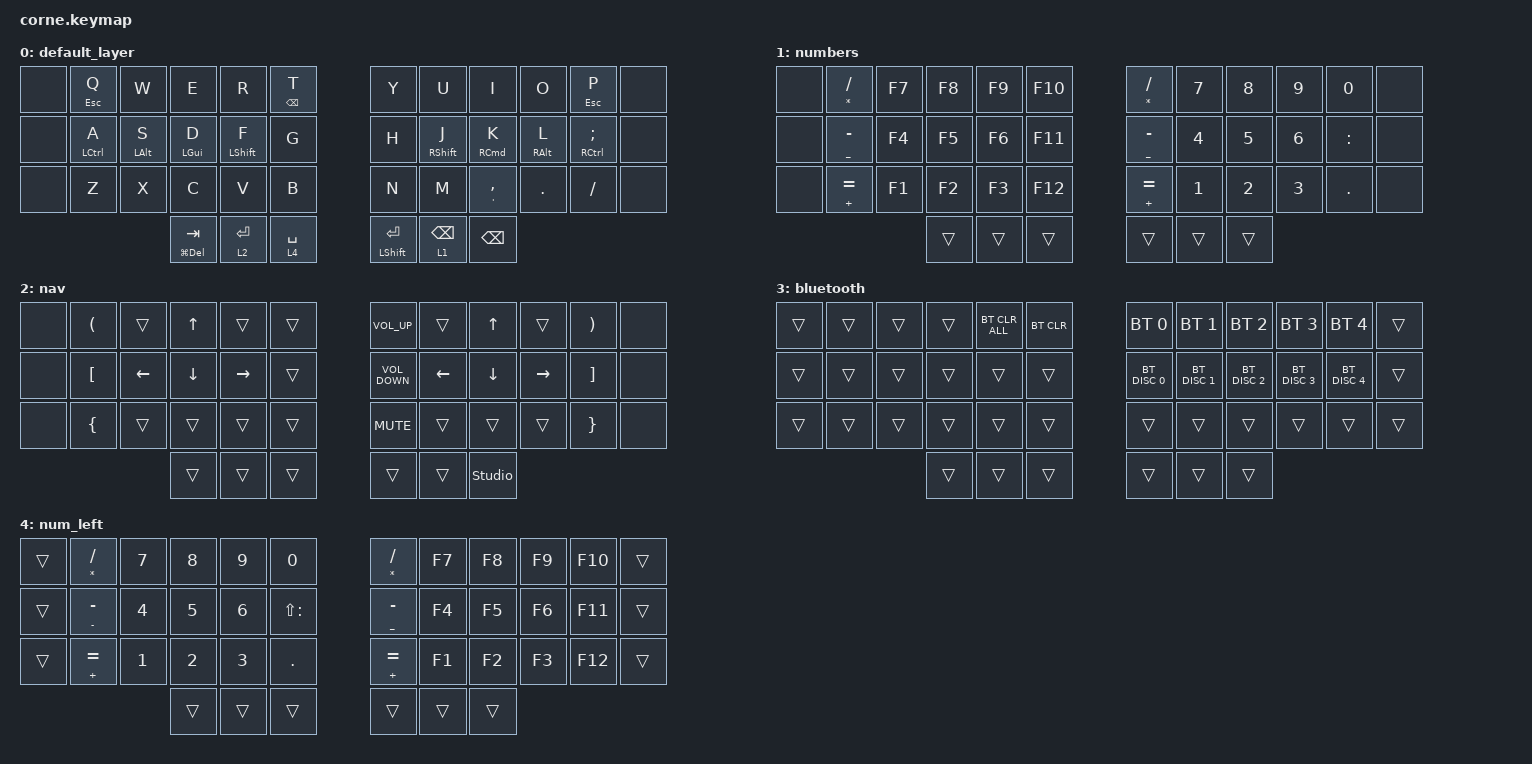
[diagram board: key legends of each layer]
/*
 * Copyright (c) 2020 The ZMK Contributors
 *
 * SPDX-License-Identifier: MIT
 */

#include <dt-bindings/zmk/mouse.h>
#include <behaviors.dtsi>
#include <dt-bindings/zmk/bt.h>
#include <dt-bindings/zmk/keys.h>

&sk { release-after-ms = <3000>; };

&mt {
    flavor = "balanced";
    tapping-term-ms = <220>;
};

/ {
    combos {
        compatible = "zmk,combos";

        home {
            bindings = <&to 0>;
            key-positions = <38 39>;
        };

        bluyee {
            bindings = <&to 3>;
            key-positions = <36 41>;
        };

        tonum {
            bindings = <&to 1>;
            key-positions = <38 40>;
        };
    };

    keymap {
        compatible = "zmk,keymap";

        default_layer {
            // -----------------------------------------------------------------------------------------
            // |  TAB |  Q  |  W  |  E  |  R  |  T  |   |  Y  |  U   |  I  |  O  |  P  | BKSP |
            // | CTRL |  A  |  S  |  D  |  F  |  G  |   |  H  |  J   |  K  |  L  |  ;  |  '   |
            // | SHFT |  Z  |  X  |  C  |  V  |  B  |   |  N  |  M   |  ,  |  .  |  /  | ESC  |
            //                    | GUI | LWR | SPC |   | ENT | RSE  | ALT |

            bindings = <
&none  &mt ESCAPE Q  &kp W       &kp E               &kp R             &mt BACKSPACE T    &kp Y                 &kp U              &kp I                &kp O       &mt ESCAPE P            &none
&none  &mt LCTRL A   &mt LALT S  &mt LGUI D          &mt LEFT_SHIFT F  &kp G              &kp H                 &mt RIGHT_SHIFT J  &mt RIGHT_COMMAND K  &mt RALT L  &mt RIGHT_CONTROL SEMI  &none
&none  &kp Z         &kp X       &kp C               &kp V             &kp B              &kp N                 &kp M              &mt SQT COMMA        &kp DOT     &kp SLASH               &none
                                 &mt LG(DELETE) TAB  &lt 2 ENTER       &lt 4 SPACE        &mt LEFT_SHIFT ENTER  &lt 1 BACKSPACE    &kp BACKSPACE
            >;
        };

        numbers {
            bindings = <
&none  &mt ASTERISK SLASH  &kp F7  &kp F8  &kp F9  &kp F10    &mt ASTERISK SLASH  &kp N7  &kp N8  &kp N9  &kp N0     &none
&none  &mt UNDER MINUS     &kp F4  &kp F5  &kp F6  &kp F11    &mt UNDER MINUS     &kp N4  &kp N5  &kp N6  &kp COLON  &none
&none  &mt PLUS EQUAL      &kp F1  &kp F2  &kp F3  &kp F12    &mt PLUS EQUAL      &kp N1  &kp N2  &kp N3  &kp DOT    &none
                                   &trans  &trans  &trans     &trans              &trans  &trans
            >;
        };

        nav {
            bindings = <
&none  &kp LEFT_PARENTHESIS  &trans    &kp UP    &trans     &trans    &kp C_VOLUME_UP    &trans    &kp UP    &trans     &kp RIGHT_PARENTHESIS  &none
&none  &kp LEFT_BRACKET      &kp LEFT  &kp DOWN  &kp RIGHT  &trans    &kp C_VOLUME_DOWN  &kp LEFT  &kp DOWN  &kp RIGHT  &kp RIGHT_BRACKET      &none
&none  &kp LEFT_BRACE        &trans    &trans    &trans     &trans    &kp K_MUTE         &trans    &trans    &trans     &kp RIGHT_BRACE        &none
                                       &trans    &trans     &trans    &trans             &trans    &studio_unlock
            >;
        };

        bluetooth {
            bindings = <
&trans  &trans  &trans  &trans  &bt BT_CLR_ALL  &bt BT_CLR    &bt BT_SEL 0   &bt BT_SEL 1   &bt BT_SEL 2   &bt BT_SEL 3   &bt BT_SEL 4   &trans
&trans  &trans  &trans  &trans  &trans          &trans        &bt BT_DISC 0  &bt BT_DISC 1  &bt BT_DISC 2  &bt BT_DISC 3  &bt BT_DISC 4  &trans
&trans  &trans  &trans  &trans  &trans          &trans        &trans         &trans         &trans         &trans         &trans         &trans
                        &trans  &trans          &trans        &trans         &trans         &trans
            >;
        };

        num_left {
            bindings = <
&trans  &mt ASTERISK SLASH  &kp N7  &kp N8  &kp N9  &kp N0           &mt ASTERISK SLASH    &kp F7  &kp F8  &kp F9  &kp F10  &trans
&trans  &mt MINUS MINUS     &kp N4  &kp N5  &kp N6  &kp LS(COLON)    &mt UNDERSCORE MINUS  &kp F4  &kp F5  &kp F6  &kp F11  &trans
&trans  &mt PLUS EQUAL      &kp N1  &kp N2  &kp N3  &kp DOT          &mt PLUS EQUAL        &kp F1  &kp F2  &kp F3  &kp F12  &trans
                                    &trans  &trans  &trans           &trans                &trans  &trans
            >;
        };

        extra1 {
            status = "reserved";
        };

        extra2 {
            status = "reserved";
        };
    };

    conditional_layers { compatible = "zmk,conditional-layers"; };
};
